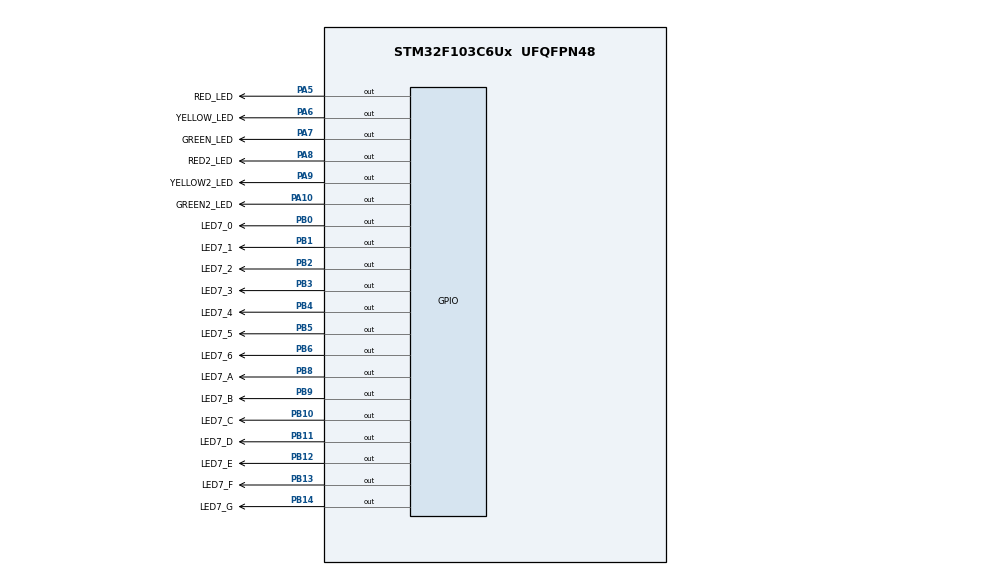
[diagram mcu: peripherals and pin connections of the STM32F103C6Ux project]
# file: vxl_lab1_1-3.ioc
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Mcu.Family=STM32F1
Mcu.Name=STM32F103C6Ux
Mcu.Package=UFQFPN48
NVIC.PriorityGroup=NVIC_PRIORITYGROUP_4
PA10.GPIO_Label=GREEN2_LED
PA10.Signal=GPIO_Output
PA5.GPIO_Label=RED_LED
PA5.Signal=GPIO_Output
PA6.GPIO_Label=YELLOW_LED
PA6.Signal=GPIO_Output
PA7.GPIO_Label=GREEN_LED
PA7.Signal=GPIO_Output
PA8.GPIO_Label=RED2_LED
PA8.Signal=GPIO_Output
PA9.GPIO_Label=YELLOW2_LED
PA9.Signal=GPIO_Output
PB0.GPIO_Label=LED7_0
PB0.Signal=GPIO_Output
PB1.GPIO_Label=LED7_1
PB1.Signal=GPIO_Output
PB10.GPIO_Label=LED7_C
PB10.Signal=GPIO_Output
PB11.GPIO_Label=LED7_D
PB11.Signal=GPIO_Output
PB12.GPIO_Label=LED7_E
PB12.Signal=GPIO_Output
PB13.GPIO_Label=LED7_F
PB13.Signal=GPIO_Output
PB14.GPIO_Label=LED7_G
PB14.Signal=GPIO_Output
PB2.GPIO_Label=LED7_2
PB2.Signal=GPIO_Output
PB3.GPIO_Label=LED7_3
PB3.Signal=GPIO_Output
PB4.GPIO_Label=LED7_4
PB4.Signal=GPIO_Output
PB5.GPIO_Label=LED7_5
PB5.Signal=GPIO_Output
PB6.GPIO_Label=LED7_6
PB6.Signal=GPIO_Output
PB8.GPIO_Label=LED7_A
PB8.Signal=GPIO_Output
PB9.GPIO_Label=LED7_B
PB9.Signal=GPIO_Output
ProjectManager.HeapSize=0x200
ProjectManager.StackSize=0x400
ProjectManager.TargetToolchain=STM32CubeIDE
RCC.APB1Freq_Value=8000000
RCC.APB2Freq_Value=8000000
VP_SYS_VS_ND.Mode=No_Debug
board=custom

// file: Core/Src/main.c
/* USER CODE BEGIN Header */
/**
  ******************************************************************************
  * @file           : main.c
  * @brief          : Main program body
  ******************************************************************************
  * @attention
  *
  * <h2><center>&copy; Copyright (c) 2023 STMicroelectronics.
  * All rights reserved.</center></h2>
  *
  * This software component is licensed by ST under BSD 3-Clause license,
  * the "License"; You may not use this file except in compliance with the
  * License. You may obtain a copy of the License at:
  *                        opensource.org/licenses/BSD-3-Clause
  *
  ******************************************************************************
  */
/* USER CODE END Header */
#include "main.h"

void SystemClock_Config(void);
static void MX_GPIO_Init(void);

int main(void)
{

  /* MCU Configuration--------------------------------------------------------*/

  /* Reset of all peripherals, Initializes the Flash interface and the Systick. */
  HAL_Init();

  /* Configure the system clock */
  SystemClock_Config();

  /* Initialize all configured peripherals */
  MX_GPIO_Init();

  /* Infinite loop */
  while (1)
  {

    /* USER CODE BEGIN 3 */
	  /*// exercise 1
	 	  	  	  // 1
	 	  	  	  HAL_GPIO_WritePin(RED_LED_GPIO_Port, RED_LED_Pin, GPIO_PIN_RESET);
	 	  	  	  HAL_GPIO_WritePin(YELLOW_LED_GPIO_Port, YELLOW_LED_Pin, GPIO_PIN_SET);
	 	  	  	  HAL_Delay(2000);
	 	  	  	  // 2
	 	  	  	  HAL_GPIO_WritePin(RED_LED_GPIO_Port, RED_LED_Pin, GPIO_PIN_SET);
	 	  	  	  HAL_GPIO_WritePin(YELLOW_LED_GPIO_Port, YELLOW_LED_Pin, GPIO_PIN_RESET);
	 	  	  	  HAL_Delay(2000);*/

	 	  	  	  /* // exercise 2
	 	  	  	  // 1
	 	  	  	  HAL_GPIO_WritePin(RED_LED_GPIO_Port, RED_LED_Pin, GPIO_PIN_RESET);
	 	  	  	  HAL_GPIO_WritePin(YELLOW_LED_GPIO_Port, YELLOW_LED_Pin, GPIO_PIN_SET);
	 	  	  	  HAL_GPIO_WritePin(GREEN_LED_GPIO_Port, GREEN_LED_Pin, GPIO_PIN_SET);
	 	  	  	  HAL_Delay(5000);
	 	  	  	  // 2
	 	  	  	  HAL_GPIO_WritePin(RED_LED_GPIO_Port, RED_LED_Pin, GPIO_PIN_SET);
	 	  	  	  HAL_GPIO_WritePin(YELLOW_LED_GPIO_Port, YELLOW_LED_Pin, GPIO_PIN_RESET);
	 	  	  	  HAL_GPIO_WritePin(GREEN_LED_GPIO_Port, GREEN_LED_Pin, GPIO_PIN_SET);
	 	  	  	  HAL_Delay(2000);
	 	  	  	  // 3
	 	  	  	  HAL_GPIO_WritePin(RED_LED_GPIO_Port, RED_LED_Pin, GPIO_PIN_SET);
	 	  	  	  HAL_GPIO_WritePin(YELLOW_LED_GPIO_Port, YELLOW_LED_Pin, GPIO_PIN_SET);
	 	  	  	  HAL_GPIO_WritePin(GREEN_LED_GPIO_Port, GREEN_LED_Pin, GPIO_PIN_RESET);
	 	  	  	  HAL_Delay(3000); */

	 	  	   	  /* // exercise 3
	 	  	 	  	  	  // 1
	 	  	 	  	  	  HAL_GPIO_WritePin(RED_LED_GPIO_Port, RED_LED_Pin, GPIO_PIN_RESET);
	 	  	 	  	  	  HAL_GPIO_WritePin(YELLOW_LED_GPIO_Port, YELLOW_LED_Pin, GPIO_PIN_SET);
	 	  	 	  	  	  HAL_GPIO_WritePin(GREEN_LED_GPIO_Port, GREEN_LED_Pin, GPIO_PIN_SET);
	 	  	 	  	  	  // 1.2
	 	  	 	  	  	  HAL_GPIO_WritePin(RED2_LED_GPIO_Port, RED2_LED_Pin, GPIO_PIN_RESET);
	 	  	 	  	  	  HAL_GPIO_WritePin(YELLOW2_LED_GPIO_Port, YELLOW2_LED_Pin, GPIO_PIN_SET);
	 	  	 	  	  	  HAL_GPIO_WritePin(GREEN2_LED_GPIO_Port, GREEN2_LED_Pin, GPIO_PIN_SET);
	 	  	 	  	  	  // delay
	 	  	 	  	  	  HAL_Delay(5000);

	 	  	 	  	  	  // 2
	 	  	 	  	  	  HAL_GPIO_WritePin(RED_LED_GPIO_Port, RED_LED_Pin, GPIO_PIN_SET);
	 	  	 	  	  	  HAL_GPIO_WritePin(YELLOW_LED_GPIO_Port, YELLOW_LED_Pin, GPIO_PIN_RESET);
	 	  	 	  	  	  HAL_GPIO_WritePin(GREEN_LED_GPIO_Port, GREEN_LED_Pin, GPIO_PIN_SET);
	 	  	 	  	  	  // 2.2
	 	  	 	  	  	  HAL_GPIO_WritePin(RED2_LED_GPIO_Port, RED2_LED_Pin, GPIO_PIN_SET);
	 	  	 	  	  	  HAL_GPIO_WritePin(YELLOW2_LED_GPIO_Port, YELLOW2_LED_Pin, GPIO_PIN_RESET);
	 	  	 	  	  	  HAL_GPIO_WritePin(GREEN2_LED_GPIO_Port, GREEN2_LED_Pin, GPIO_PIN_SET);
	 	  	 	  	  	  // delay
	 	  	 	  	  	  HAL_Delay(2000);

	 	  	 	  	  	  // 3
	 	  	 	  	  	  HAL_GPIO_WritePin(RED_LED_GPIO_Port, RED_LED_Pin, GPIO_PIN_SET);
	 	  	 	  	  	  HAL_GPIO_WritePin(YELLOW_LED_GPIO_Port, YELLOW_LED_Pin, GPIO_PIN_SET);
	 	  	 	  	  	  HAL_GPIO_WritePin(GREEN_LED_GPIO_Port, GREEN_LED_Pin, GPIO_PIN_RESET);
	 	  	 	  	  	  // 3.2
	 	  	 	  	  	  HAL_GPIO_WritePin(RED2_LED_GPIO_Port, RED2_LED_Pin, GPIO_PIN_SET);
	 	  	 	  	  	  HAL_GPIO_WritePin(YELLOW2_LED_GPIO_Port, YELLOW2_LED_Pin, GPIO_PIN_SET);
	 	  	 	  	  	  HAL_GPIO_WritePin(GREEN2_LED_GPIO_Port, GREEN2_LED_Pin, GPIO_PIN_RESET);
	 	  	 	  	  	  // delay
	 	  	 	  	  	  HAL_Delay(3000); */

	  // exercise 4
	 	  	  	  /* int counter = 0;
	 	  	  	  while (1) {
	 	  		  if( counter >= 10) counter = 0;
	 	  	  	  display7SEG( 1 , counter) ;
	 	  	  	  counter++ ;
	 	  	  	  HAL_Delay (1000) ;
	 	  	  	  } */

	 	  	  	  // exercise 5
	 			  // phase 1

	 			  // 1.1 horizontal red on
	 			  HAL_GPIO_WritePin(RED_LED_GPIO_Port, RED_LED_Pin, GPIO_PIN_RESET);
	 	  	  	  HAL_GPIO_WritePin(YELLOW_LED_GPIO_Port, YELLOW_LED_Pin, GPIO_PIN_SET);
	 	  	  	  HAL_GPIO_WritePin(GREEN_LED_GPIO_Port, GREEN_LED_Pin, GPIO_PIN_SET);
	 	  	  	  // 1.2 vertical green on
	 	  	  	  HAL_GPIO_WritePin(RED2_LED_GPIO_Port, RED2_LED_Pin, GPIO_PIN_SET);
	 	  	  	  HAL_GPIO_WritePin(YELLOW2_LED_GPIO_Port, YELLOW2_LED_Pin, GPIO_PIN_SET);
	 	  	  	  HAL_GPIO_WritePin(GREEN2_LED_GPIO_Port, GREEN2_LED_Pin, GPIO_PIN_RESET);
	 	  	  	  for (int cnt_red_1 = 9; cnt_red_1 > 0; cnt_red_1--) {
	 	  	  			  // red 9s
	 	  	  			  display7SEG(0, cnt_red_1);

	 	  	  			  // green 6s
	 	  	  			  int cnt_gre_2 = cnt_red_1 - 3;
	 	  	  			  if (cnt_gre_2 > 0) {
	 	  	  				  display7SEG(1, cnt_gre_2);
	 	  	  			  }

	 	  	  			  // yellow on
	 	  	  			  if (cnt_red_1 <= 3){
	 	  	  				  int cnt_yel_2 = cnt_red_1;
	 	  	  				  HAL_GPIO_WritePin(RED2_LED_GPIO_Port, RED2_LED_Pin, GPIO_PIN_SET);
	 	  	  				  HAL_GPIO_WritePin(YELLOW2_LED_GPIO_Port, YELLOW2_LED_Pin, GPIO_PIN_RESET);
	 	  	  				  HAL_GPIO_WritePin(GREEN2_LED_GPIO_Port, GREEN2_LED_Pin, GPIO_PIN_SET);
	 	  	  				  display7SEG(1, cnt_yel_2);
	 	  	  			  }
	 	  	  			  // delay
	 	  	  			  HAL_Delay(500);
	 	  	  		  }
	 	  	  	// phase 2

	 	  	  		  // 2.1 horizontal green on
	 	  	  		  HAL_GPIO_WritePin(RED_LED_GPIO_Port, RED_LED_Pin, GPIO_PIN_SET);
	 	  	  		  HAL_GPIO_WritePin(YELLOW_LED_GPIO_Port, YELLOW_LED_Pin, GPIO_PIN_SET);
	 	  	  		  HAL_GPIO_WritePin(GREEN_LED_GPIO_Port, GREEN_LED_Pin, GPIO_PIN_RESET);
	 	  	  		  // 2.2 vertical red on
	 	  	  		  HAL_GPIO_WritePin(RED2_LED_GPIO_Port, RED2_LED_Pin, GPIO_PIN_RESET);
	 	  	  		  HAL_GPIO_WritePin(YELLOW2_LED_GPIO_Port, YELLOW2_LED_Pin, GPIO_PIN_SET);
	 	  	  		  HAL_GPIO_WritePin(GREEN2_LED_GPIO_Port, GREEN2_LED_Pin, GPIO_PIN_SET);
	 	  	  		  // clock
	 	  	  		  for (int cnt_red_2 = 9; cnt_red_2 > 0; cnt_red_2--) {
	 	  	  			  // red 9s
	 	  	  			  display7SEG(1, cnt_red_2);

	 	  	  			  // green 6s
	 	  	  			  int cnt_gre_1 = cnt_red_2 - 3;
	 	  	  			  if (cnt_gre_1 > 0) {
	 	  	  				  display7SEG(0 , cnt_gre_1);
	 	  	  			  }

	 	  	  			  // yellow on
	 	  	  			  if (cnt_red_2 <= 3){
	 	  	  				  int cnt_yel_1 = cnt_red_2;
	 	  	  				  HAL_GPIO_WritePin(RED_LED_GPIO_Port, RED_LED_Pin, GPIO_PIN_SET);
	 	  	  				  HAL_GPIO_WritePin(YELLOW_LED_GPIO_Port, YELLOW_LED_Pin, GPIO_PIN_RESET);
	 	  	  				  HAL_GPIO_WritePin(GREEN_LED_GPIO_Port, GREEN_LED_Pin, GPIO_PIN_SET);
	 	  	  				  display7SEG(0, cnt_yel_1);
	 	  	  			  }
	 	  	  			  // delay
	 	  	  			  HAL_Delay(500);
	 	  	  		  }

  }
  /* USER CODE END 3 */
}

void SystemClock_Config(void)
{
  RCC_OscInitTypeDef RCC_OscInitStruct = {0};
  RCC_ClkInitTypeDef RCC_ClkInitStruct = {0};

  /** Initializes the RCC Oscillators according to the specified parameters
  * in the RCC_OscInitTypeDef structure.
  */
  RCC_OscInitStruct.OscillatorType = RCC_OSCILLATORTYPE_HSI;
  RCC_OscInitStruct.HSIState = RCC_HSI_ON;
  RCC_OscInitStruct.HSICalibrationValue = RCC_HSICALIBRATION_DEFAULT;
  RCC_OscInitStruct.PLL.PLLState = RCC_PLL_NONE;
  if (HAL_RCC_OscConfig(&RCC_OscInitStruct) != HAL_OK)
  {
    Error_Handler();
  }
  /** Initializes the CPU, AHB and APB buses clocks
  */
  RCC_ClkInitStruct.ClockType = RCC_CLOCKTYPE_HCLK|RCC_CLOCKTYPE_SYSCLK
                              |RCC_CLOCKTYPE_PCLK1|RCC_CLOCKTYPE_PCLK2;
  RCC_ClkInitStruct.SYSCLKSource = RCC_SYSCLKSOURCE_HSI;
  RCC_ClkInitStruct.AHBCLKDivider = RCC_SYSCLK_DIV1;
  RCC_ClkInitStruct.APB1CLKDivider = RCC_HCLK_DIV1;
  RCC_ClkInitStruct.APB2CLKDivider = RCC_HCLK_DIV1;

  if (HAL_RCC_ClockConfig(&RCC_ClkInitStruct, FLASH_LATENCY_0) != HAL_OK)
  {
    Error_Handler();
  }
}

static void MX_GPIO_Init(void)
{
  GPIO_InitTypeDef GPIO_InitStruct = {0};

  /* GPIO Ports Clock Enable */
  __HAL_RCC_GPIOA_CLK_ENABLE();
  __HAL_RCC_GPIOB_CLK_ENABLE();

  /*Configure GPIO pin Output Level */
  HAL_GPIO_WritePin(GPIOA, RED_LED_Pin|YELLOW_LED_Pin|GREEN_LED_Pin|RED2_LED_Pin
                          |YELLOW2_LED_Pin|GREEN2_LED_Pin, GPIO_PIN_RESET);

  /*Configure GPIO pin Output Level */
  HAL_GPIO_WritePin(GPIOB, LED7_0_Pin|LED7_1_Pin|LED7_2_Pin|LED7_C_Pin
                          |LED7_D_Pin|LED7_E_Pin|LED7_F_Pin|LED7_G_Pin
                          |LED7_3_Pin|LED7_4_Pin|LED7_5_Pin|LED7_6_Pin
                          |LED7_A_Pin|LED7_B_Pin, GPIO_PIN_RESET);

  /*Configure GPIO pins : RED_LED_Pin YELLOW_LED_Pin GREEN_LED_Pin RED2_LED_Pin
                           YELLOW2_LED_Pin GREEN2_LED_Pin */
  GPIO_InitStruct.Pin = RED_LED_Pin|YELLOW_LED_Pin|GREEN_LED_Pin|RED2_LED_Pin
                          |YELLOW2_LED_Pin|GREEN2_LED_Pin;
  GPIO_InitStruct.Mode = GPIO_MODE_OUTPUT_PP;
  GPIO_InitStruct.Pull = GPIO_NOPULL;
  GPIO_InitStruct.Speed = GPIO_SPEED_FREQ_LOW;
  HAL_GPIO_Init(GPIOA, &GPIO_InitStruct);

  /*Configure GPIO pins : LED7_0_Pin LED7_1_Pin LED7_2_Pin LED7_C_Pin
                           LED7_D_Pin LED7_E_Pin LED7_F_Pin LED7_G_Pin
                           LED7_3_Pin LED7_4_Pin LED7_5_Pin LED7_6_Pin
                           LED7_A_Pin LED7_B_Pin */
  GPIO_InitStruct.Pin = LED7_0_Pin|LED7_1_Pin|LED7_2_Pin|LED7_C_Pin
                          |LED7_D_Pin|LED7_E_Pin|LED7_F_Pin|LED7_G_Pin
                          |LED7_3_Pin|LED7_4_Pin|LED7_5_Pin|LED7_6_Pin
                          |LED7_A_Pin|LED7_B_Pin;
  GPIO_InitStruct.Mode = GPIO_MODE_OUTPUT_PP;
  GPIO_InitStruct.Pull = GPIO_NOPULL;
  GPIO_InitStruct.Speed = GPIO_SPEED_FREQ_LOW;
  HAL_GPIO_Init(GPIOB, &GPIO_InitStruct);

}

void Error_Handler(void)
{
  __disable_irq();
  while (1)
  {
  }
}

/************************ (C) COPYRIGHT STMicroelectronics *****END OF FILE****/
